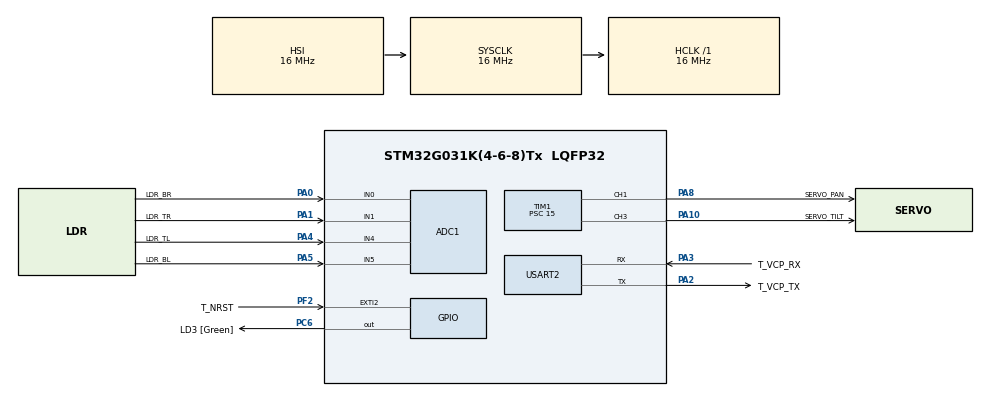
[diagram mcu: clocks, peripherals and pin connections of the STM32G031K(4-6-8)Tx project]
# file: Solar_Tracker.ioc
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ADC1.Channel-0\#ChannelRegularConversion=ADC_CHANNEL_0
ADC1.NbrOfConversionFlag=1
ADC1.Rank-0\#ChannelRegularConversion=1
ADC1.SamplingTime-0\#ChannelRegularConversion=ADC_SAMPLINGTIME_COMMON_1
ADC1.SelectedChannel=ADC_CHANNEL_0|ADC_CHANNEL_1|ADC_CHANNEL_4|ADC_CHANNEL_5
ADC1.master=1
Mcu.Family=STM32G0
Mcu.Name=STM32G031K(4-6-8)Tx
Mcu.Package=LQFP32
PA0.GPIO_Label=LDR_BR
PA0.Mode=IN0
PA0.Signal=ADC1_IN0
PA1.GPIO_Label=LDR_TR
PA1.Mode=IN1
PA1.Signal=ADC1_IN1
PA10.GPIO_Label=SERVO_TILT
PA10.Signal=S_TIM1_CH3
PA13.GPIO_Label=T_JTMS
PA13.Mode=Serial_Wire
PA13.Signal=SYS_SWDIO
PA14-BOOT0.GPIO_Label=T_JTCK
PA14-BOOT0.Mode=Serial_Wire
PA14-BOOT0.Signal=SYS_SWCLK
PA2.GPIO_Label=T_VCP_TX
PA2.GPIO_PuPd=GPIO_PULLUP
PA2.Mode=Asynchronous
PA2.Signal=USART2_TX
PA3.GPIO_Label=T_VCP_RX
PA3.GPIO_PuPd=GPIO_PULLUP
PA3.Mode=Asynchronous
PA3.Signal=USART2_RX
PA4.GPIO_Label=LDR_TL
PA4.Mode=IN4
PA4.Signal=ADC1_IN4
PA5.GPIO_Label=LDR_BL
PA5.Mode=IN5
PA5.Signal=ADC1_IN5
PA8.GPIO_Label=SERVO_PAN
PA8.Signal=S_TIM1_CH1
PC14-OSC32_IN\ (PC14).Mode=LSE-External-Oscillator
PC14-OSC32_IN\ (PC14).Signal=RCC_OSC32_IN
PC15-OSC32_OUT\ (PC15).Mode=LSE-External-Oscillator
PC15-OSC32_OUT\ (PC15).Signal=RCC_OSC32_OUT
PC6.GPIO_Label=LD3 [Green]
PC6.Signal=GPIO_Output
PF2\ -\ NRST.GPIO_Label=T_NRST
PF2\ -\ NRST.Signal=GPXTI2
ProjectManager.HeapSize=0x200
ProjectManager.StackSize=0x400
ProjectManager.TargetToolchain=STM32CubeIDE
RCC.AHBFreq_Value=16000000
RCC.CortexFreq_Value=16000000
RCC.EXTERNAL_CLOCK_VALUE=12288000
RCC.HCLKFreq_Value=16000000
RCC.HSE_VALUE=8000000
RCC.HSI_VALUE=16000000
RCC.SYSCLKFreq_VALUE=16000000
RCC.VCOOutputFreq_Value=128000000
SH.S_TIM1_CH1.0=TIM1_CH1,PWM Generation1 CH1
SH.S_TIM1_CH3.0=TIM1_CH3,PWM Generation3 CH3
TIM1.Channel-PWM\ Generation1\ CH1=TIM_CHANNEL_1
TIM1.Channel-PWM\ Generation3\ CH3=TIM_CHANNEL_3
TIM1.Period=19999
TIM1.Prescaler=15
USART2.VirtualMode-Asynchronous=VM_ASYNC
USART2.WordLength=WORDLENGTH_7B
board=NUCLEO-G031K8

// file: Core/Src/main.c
/* USER CODE BEGIN Header */
/**
  ******************************************************************************
  * @file           : main.c
  * @brief          : Main program body
  ******************************************************************************
  * @attention
  *
  * Copyright (c) 2026 STMicroelectronics.
  * All rights reserved.
  *
  * This software is licensed under terms that can be found in the LICENSE file
  * in the root directory of this software component.
  * If no LICENSE file comes with this software, it is provided AS-IS.
  *
  ******************************************************************************
  */
/* USER CODE END Header */

#include "main.h"

/* USER CODE BEGIN Includes */
#include "tracker_config.h"
#include "tracking_control.h"
#include "ldr_sensors.h"
  /* USER CODE END Includes */

ADC_HandleTypeDef hadc1;
TIM_HandleTypeDef htim1;
UART_HandleTypeDef huart2;

/* USER CODE BEGIN PV */
TrackerState tracker;
volatile uint32_t tracker_overruns = 0;
volatile uint32_t tracker_adc_failures = 0;
volatile uint32_t tracker_max_loop_ms = 0;
  /* USER CODE END PV */

void SystemClock_Config(void);
static void MX_GPIO_Init(void);
static void MX_USART2_UART_Init(void);
static void MX_ADC1_Init(void);
static void MX_TIM1_Init(void);

int main(void)
{

  HAL_Init();

  SystemClock_Config();

  MX_GPIO_Init();
  MX_USART2_UART_Init();
  MX_ADC1_Init();
  MX_TIM1_Init();

  /* USER CODE BEGIN 2 */
if (HAL_ADCEx_Calibration_Start(&hadc1) != HAL_OK) Error_Handler();
  Tracker_Init(&tracker);
  __HAL_TIM_SET_COMPARE(&htim1, TIM_CHANNEL_1, (uint16_t)PAN_MIN);
  __HAL_TIM_SET_COMPARE(&htim1, TIM_CHANNEL_3, (uint16_t)TILT_MIN);
  if (HAL_TIM_PWM_Start(&htim1, TIM_CHANNEL_1) != HAL_OK ||
      HAL_TIM_PWM_Start(&htim1, TIM_CHANNEL_3) != HAL_OK) Error_Handler();
  for (unsigned i=1; i<=50; ++i) {
      __HAL_TIM_SET_COMPARE(&htim1,TIM_CHANNEL_1,(uint16_t)(PAN_MIN+(PAN_HOME-PAN_MIN)*i/50.0f));
      __HAL_TIM_SET_COMPARE(&htim1,TIM_CHANNEL_3,(uint16_t)(TILT_MIN+(TILT_HOME-TILT_MIN)*i/50.0f));
      HAL_Delay(20);
  }
  uint32_t previous=HAL_GetTick();
  uint32_t next_tick=previous+LOOP_PERIOD_MS;
  /* USER CODE END 2 */

  while (1)
  {

    /* USER CODE BEGIN 3 */
if ((int32_t)(HAL_GetTick()-next_tick)>=0) {
        uint32_t started=HAL_GetTick();
        next_tick=started+LOOP_PERIOD_MS;
        uint16_t readings[4]={0};
        uint8_t valid=LDR_ReadAll(&hadc1,readings);
        if (!valid) ++tracker_adc_failures;
        float dt=(started-previous)/1000.0f;
        previous=started;
        Tracker_Update(&tracker,readings,valid,dt);
        __HAL_TIM_SET_COMPARE(&htim1,TIM_CHANNEL_1,(uint16_t)(tracker.pan_us+0.5f));
        __HAL_TIM_SET_COMPARE(&htim1,TIM_CHANNEL_3,(uint16_t)(tracker.tilt_us+0.5f));
        uint32_t elapsed=HAL_GetTick()-started;
        if (elapsed>tracker_max_loop_ms) tracker_max_loop_ms=elapsed;
        if (elapsed>=LOOP_PERIOD_MS) ++tracker_overruns;
    }
  }
  /* USER CODE END 3 */
}

void SystemClock_Config(void)
{
  RCC_OscInitTypeDef RCC_OscInitStruct = {0};
  RCC_ClkInitTypeDef RCC_ClkInitStruct = {0};

  HAL_PWREx_ControlVoltageScaling(PWR_REGULATOR_VOLTAGE_SCALE1);

  RCC_OscInitStruct.OscillatorType = RCC_OSCILLATORTYPE_HSI;
  RCC_OscInitStruct.HSIState = RCC_HSI_ON;
  RCC_OscInitStruct.HSIDiv = RCC_HSI_DIV1;
  RCC_OscInitStruct.HSICalibrationValue = RCC_HSICALIBRATION_DEFAULT;
  RCC_OscInitStruct.PLL.PLLState = RCC_PLL_NONE;
  if (HAL_RCC_OscConfig(&RCC_OscInitStruct) != HAL_OK)
  {
    Error_Handler();
  }

  RCC_ClkInitStruct.ClockType = RCC_CLOCKTYPE_HCLK|RCC_CLOCKTYPE_SYSCLK
                              |RCC_CLOCKTYPE_PCLK1;
  RCC_ClkInitStruct.SYSCLKSource = RCC_SYSCLKSOURCE_HSI;
  RCC_ClkInitStruct.AHBCLKDivider = RCC_SYSCLK_DIV1;
  RCC_ClkInitStruct.APB1CLKDivider = RCC_HCLK_DIV1;

  if (HAL_RCC_ClockConfig(&RCC_ClkInitStruct, FLASH_LATENCY_0) != HAL_OK)
  {
    Error_Handler();
  }
}

static void MX_ADC1_Init(void)
{

  ADC_ChannelConfTypeDef sConfig = {0};

  hadc1.Instance = ADC1;
  hadc1.Init.ClockPrescaler = ADC_CLOCK_SYNC_PCLK_DIV2;
  hadc1.Init.Resolution = ADC_RESOLUTION_12B;
  hadc1.Init.DataAlign = ADC_DATAALIGN_RIGHT;
  hadc1.Init.ScanConvMode = ADC_SCAN_DISABLE;
  hadc1.Init.EOCSelection = ADC_EOC_SINGLE_CONV;
  hadc1.Init.LowPowerAutoWait = DISABLE;
  hadc1.Init.LowPowerAutoPowerOff = DISABLE;
  hadc1.Init.ContinuousConvMode = DISABLE;
  hadc1.Init.NbrOfConversion = 1;
  hadc1.Init.DiscontinuousConvMode = DISABLE;
  hadc1.Init.ExternalTrigConv = ADC_SOFTWARE_START;
  hadc1.Init.ExternalTrigConvEdge = ADC_EXTERNALTRIGCONVEDGE_NONE;
  hadc1.Init.DMAContinuousRequests = DISABLE;
  hadc1.Init.Overrun = ADC_OVR_DATA_PRESERVED;
  hadc1.Init.SamplingTimeCommon1 = ADC_SAMPLETIME_160CYCLES_5;
  hadc1.Init.SamplingTimeCommon2 = ADC_SAMPLETIME_160CYCLES_5;
  hadc1.Init.OversamplingMode = DISABLE;
  hadc1.Init.TriggerFrequencyMode = ADC_TRIGGER_FREQ_HIGH;
  if (HAL_ADC_Init(&hadc1) != HAL_OK)
  {
    Error_Handler();
  }

  sConfig.Channel = ADC_CHANNEL_0;
  sConfig.Rank = ADC_REGULAR_RANK_1;
  sConfig.SamplingTime = ADC_SAMPLINGTIME_COMMON_1;
  if (HAL_ADC_ConfigChannel(&hadc1, &sConfig) != HAL_OK)
  {
    Error_Handler();
  }

}

static void MX_TIM1_Init(void)
{

  TIM_MasterConfigTypeDef sMasterConfig = {0};
  TIM_OC_InitTypeDef sConfigOC = {0};
  TIM_BreakDeadTimeConfigTypeDef sBreakDeadTimeConfig = {0};

  htim1.Instance = TIM1;
  htim1.Init.Prescaler = 15;
  htim1.Init.CounterMode = TIM_COUNTERMODE_UP;
  htim1.Init.Period = 19999;
  htim1.Init.ClockDivision = TIM_CLOCKDIVISION_DIV1;
  htim1.Init.RepetitionCounter = 0;
  htim1.Init.AutoReloadPreload = TIM_AUTORELOAD_PRELOAD_DISABLE;
  if (HAL_TIM_PWM_Init(&htim1) != HAL_OK)
  {
    Error_Handler();
  }
  sMasterConfig.MasterOutputTrigger = TIM_TRGO_RESET;
  sMasterConfig.MasterOutputTrigger2 = TIM_TRGO2_RESET;
  sMasterConfig.MasterSlaveMode = TIM_MASTERSLAVEMODE_DISABLE;
  if (HAL_TIMEx_MasterConfigSynchronization(&htim1, &sMasterConfig) != HAL_OK)
  {
    Error_Handler();
  }
  sConfigOC.OCMode = TIM_OCMODE_PWM1;
  sConfigOC.Pulse = 0;
  sConfigOC.OCPolarity = TIM_OCPOLARITY_HIGH;
  sConfigOC.OCNPolarity = TIM_OCNPOLARITY_HIGH;
  sConfigOC.OCFastMode = TIM_OCFAST_DISABLE;
  sConfigOC.OCIdleState = TIM_OCIDLESTATE_RESET;
  sConfigOC.OCNIdleState = TIM_OCNIDLESTATE_RESET;
  if (HAL_TIM_PWM_ConfigChannel(&htim1, &sConfigOC, TIM_CHANNEL_1) != HAL_OK)
  {
    Error_Handler();
  }
  if (HAL_TIM_PWM_ConfigChannel(&htim1, &sConfigOC, TIM_CHANNEL_3) != HAL_OK)
  {
    Error_Handler();
  }
  sBreakDeadTimeConfig.OffStateRunMode = TIM_OSSR_DISABLE;
  sBreakDeadTimeConfig.OffStateIDLEMode = TIM_OSSI_DISABLE;
  sBreakDeadTimeConfig.LockLevel = TIM_LOCKLEVEL_OFF;
  sBreakDeadTimeConfig.DeadTime = 0;
  sBreakDeadTimeConfig.BreakState = TIM_BREAK_DISABLE;
  sBreakDeadTimeConfig.BreakPolarity = TIM_BREAKPOLARITY_HIGH;
  sBreakDeadTimeConfig.BreakFilter = 0;
  sBreakDeadTimeConfig.BreakAFMode = TIM_BREAK_AFMODE_INPUT;
  sBreakDeadTimeConfig.Break2State = TIM_BREAK2_DISABLE;
  sBreakDeadTimeConfig.Break2Polarity = TIM_BREAK2POLARITY_HIGH;
  sBreakDeadTimeConfig.Break2Filter = 0;
  sBreakDeadTimeConfig.Break2AFMode = TIM_BREAK_AFMODE_INPUT;
  sBreakDeadTimeConfig.AutomaticOutput = TIM_AUTOMATICOUTPUT_DISABLE;
  if (HAL_TIMEx_ConfigBreakDeadTime(&htim1, &sBreakDeadTimeConfig) != HAL_OK)
  {
    Error_Handler();
  }
  HAL_TIM_MspPostInit(&htim1);

}

static void MX_USART2_UART_Init(void)
{

  huart2.Instance = USART2;
  huart2.Init.BaudRate = 115200;
  huart2.Init.WordLength = UART_WORDLENGTH_8B;
  huart2.Init.StopBits = UART_STOPBITS_1;
  huart2.Init.Parity = UART_PARITY_NONE;
  huart2.Init.Mode = UART_MODE_TX_RX;
  huart2.Init.HwFlowCtl = UART_HWCONTROL_NONE;
  huart2.Init.OverSampling = UART_OVERSAMPLING_16;
  huart2.Init.OneBitSampling = UART_ONE_BIT_SAMPLE_DISABLE;
  huart2.Init.ClockPrescaler = UART_PRESCALER_DIV1;
  huart2.AdvancedInit.AdvFeatureInit = UART_ADVFEATURE_NO_INIT;
  if (HAL_UART_Init(&huart2) != HAL_OK)
  {
    Error_Handler();
  }

}

static void MX_GPIO_Init(void)
{
  GPIO_InitTypeDef GPIO_InitStruct = {0};

  __HAL_RCC_GPIOC_CLK_ENABLE();
  __HAL_RCC_GPIOF_CLK_ENABLE();
  __HAL_RCC_GPIOA_CLK_ENABLE();

  HAL_GPIO_WritePin(LD3_GPIO_Port, LD3_Pin, GPIO_PIN_RESET);

  GPIO_InitStruct.Pin = T_NRST_Pin;
  GPIO_InitStruct.Mode = GPIO_MODE_IT_RISING;
  GPIO_InitStruct.Pull = GPIO_NOPULL;
  HAL_GPIO_Init(T_NRST_GPIO_Port, &GPIO_InitStruct);

  GPIO_InitStruct.Pin = LD3_Pin;
  GPIO_InitStruct.Mode = GPIO_MODE_OUTPUT_PP;
  GPIO_InitStruct.Pull = GPIO_NOPULL;
  GPIO_InitStruct.Speed = GPIO_SPEED_FREQ_LOW;
  HAL_GPIO_Init(LD3_GPIO_Port, &GPIO_InitStruct);

}

void Error_Handler(void)
{
  __disable_irq();
  while (1)
  {
  }
}
